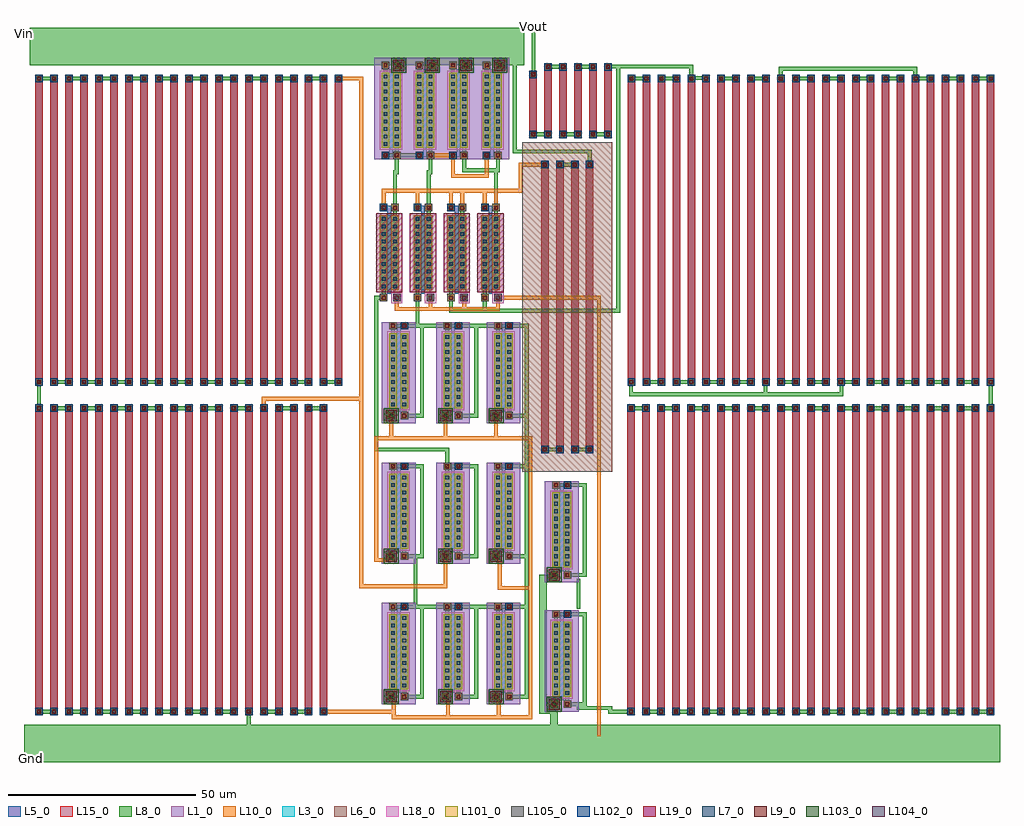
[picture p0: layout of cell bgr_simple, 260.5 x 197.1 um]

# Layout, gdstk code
from math import pi, radians
import gdstk
lib = gdstk.Library(unit=1e-6, precision=1e-09)
def R(c, l, rs):  # rectangles x0, y0, x1, y1
    for r in rs: c.add(gdstk.rectangle(r[:2], r[2:], *l))
def A(c, l, x, y, w, h, nx, ny, dx, dy):  # array of equal rectangles
    R(c, l, [(x+i*dx, y+j*dy, x+i*dx+w, y+j*dy+h) for i in range(nx) for j in range(ny)])
L1_0 = (1, 0)
L3_0 = (3, 0)
L5_0 = (5, 0)
L6_0 = (6, 0)
L7_0 = (7, 0)
L8_0 = (8, 0)
L9_0 = (9, 0)
L10_0 = (10, 0)
L15_0 = (15, 0)
L18_0 = (18, 0)
L19_0 = (19, 0)
L101_0 = (101, 0)
L102_0 = (102, 0)
L103_0 = (103, 0)
L104_0 = (104, 0)
L105_0 = (105, 0)

dcont_1 = lib.new_cell('dcont$1')
R(dcont_1, L3_0, [(-0.5,-0.5,0.5,0.5)])
R(dcont_1, L7_0, [(-0.5,-0.5,0.5,0.5)])
R(dcont_1, L8_0, [(-1,-1,1,1)])
R(dcont_1, L101_0, [(-1,-1,1,1)])
dcont_1.add(gdstk.Label('dcont', (0,0), layer=13, texttype=0))

pcont_4 = lib.new_cell('pcont$4')
R(pcont_4, L5_0, [(-1,-1,1,1)])
R(pcont_4, L7_0, [(-0.5,-0.5,0.5,0.5)])
R(pcont_4, L8_0, [(-1,-1,1,1)])
R(pcont_4, L102_0, [(-1,-1,1,1)])
pcont_4.add(gdstk.Label('pcont', (0,0), layer=13, texttype=0))

via_4 = lib.new_cell('Via$4')
R(via_4, L8_0, [(-1,-1,1,1)])
R(via_4, L9_0, [(-0.5,-0.5,0.5,0.5)])
R(via_4, L10_0, [(-1,-1,1,1)])
R(via_4, L105_0, [(-1,-1,1,1)])
via_4.add(gdstk.Label('via', (0,0), layer=13, texttype=0))

nsubcont_1 = lib.new_cell('nsubcont$1')
R(nsubcont_1, L1_0, [(-2,-2,2,2)])
R(nsubcont_1, L19_0, [(-1.5,-1.5,1.5,1.5)])
R(nsubcont_1, L103_0, [(-2,-2,2,2)])
nsubcont_1.add(gdstk.Reference(dcont_1, (0,0)))
nsubcont_1.add(gdstk.Label('NScont', (0,0), layer=13, texttype=0))

pch = lib.new_cell('Pch')
R(pch, L1_0, [(-2,0,7,27)])
R(pch, L3_0, [(0,3,5,23)])
R(pch, L18_0, [(-0.5,2.5,5.5,23.5)])
pch.add(gdstk.FlexPath([(1,3),(1,23)], 2, ends="flush", simple_path=True, layer=8, datatype=0))  # L8_0
pch.add(gdstk.FlexPath([(4,3),(4,23)], 2, ends="flush", simple_path=True, layer=8, datatype=0))  # L8_0
pch.add(gdstk.FlexPath([(1,23),(1,25)], 1, ends="flush", simple_path=True, layer=8, datatype=0))  # L8_0
pch.add(gdstk.FlexPath([(4,0),(4,3)], 1, ends="flush", simple_path=True, layer=8, datatype=0))  # L8_0
pch.add(gdstk.FlexPath([(2.5,3),(2.5,23)], 1, ends=(1, 1), simple_path=True, layer=5, datatype=0))  # L5_0
pch.add(gdstk.FlexPath([(1,1),(2.5,1),(2.5,2)], 1, ends="flush", simple_path=True, layer=5, datatype=0))  # L5_0
pch.add(gdstk.Reference(dcont_1, (1,4)))
pch.add(gdstk.Reference(dcont_1, (1,6)))
pch.add(gdstk.Reference(dcont_1, (1,8)))
pch.add(gdstk.Reference(dcont_1, (1,10)))
pch.add(gdstk.Reference(dcont_1, (1,12)))
pch.add(gdstk.Reference(dcont_1, (1,14)))
pch.add(gdstk.Reference(dcont_1, (1,16)))
pch.add(gdstk.Reference(dcont_1, (1,18)))
pch.add(gdstk.Reference(dcont_1, (1,20)))
pch.add(gdstk.Reference(dcont_1, (1,22)))
pch.add(gdstk.Reference(dcont_1, (4,4)))
pch.add(gdstk.Reference(dcont_1, (4,6)))
pch.add(gdstk.Reference(dcont_1, (4,8)))
pch.add(gdstk.Reference(dcont_1, (4,10)))
pch.add(gdstk.Reference(dcont_1, (4,12)))
pch.add(gdstk.Reference(dcont_1, (4,14)))
pch.add(gdstk.Reference(dcont_1, (4,16)))
pch.add(gdstk.Reference(dcont_1, (4,18)))
pch.add(gdstk.Reference(dcont_1, (4,20)))
pch.add(gdstk.Reference(dcont_1, (4,22)))
pch.add(gdstk.Reference(pcont_4, (1,1)))
pch.add(gdstk.Reference(via_4, (1,1)))
pch.add(gdstk.Reference(via_4, (1,25)))
pch.add(gdstk.Reference(via_4, (4,1)))
pch.add(gdstk.Reference(nsubcont_1, (4.5,25)))
pch.add(gdstk.Reference(via_4, (4.5,25)))

pch1x20 = lib.new_cell('pch1x20')
pch1x20.add(gdstk.Reference(pch, (1,2.5)))

psubcont_1 = lib.new_cell('psubcont$1')
R(psubcont_1, L104_0, [(-1,-1,1,1)])
psubcont_1.add(gdstk.Reference(dcont_1, (0,0)))
psubcont_1.add(gdstk.Label('PScon', (0,0), layer=13, texttype=0))

nch = lib.new_cell('Nch')
R(nch, L3_0, [(0,3,5,23)])
R(nch, L18_0, [(3,-0.5,6,2.5)])
R(nch, L19_0, [(-1,2.5,6,23.5)])
nch.add(gdstk.FlexPath([(1,3),(1,23)], 2, ends="flush", simple_path=True, layer=8, datatype=0))  # L8_0
nch.add(gdstk.FlexPath([(4,3),(4,23)], 2, ends="flush", simple_path=True, layer=8, datatype=0))  # L8_0
nch.add(gdstk.FlexPath([(1,1),(1,4)], 1, ends="flush", simple_path=True, layer=8, datatype=0))  # L8_0
nch.add(gdstk.FlexPath([(4,23),(4,26)], 1, ends="flush", simple_path=True, layer=8, datatype=0))  # L8_0
nch.add(gdstk.FlexPath([(2.5,3),(2.5,23)], 1, ends=(1, 1), simple_path=True, layer=5, datatype=0))  # L5_0
nch.add(gdstk.FlexPath([(1,25),(2.5,25),(2.5,24)], 1, ends="flush", simple_path=True, layer=5, datatype=0))  # L5_0
nch.add(gdstk.Reference(dcont_1, (1,4)))
nch.add(gdstk.Reference(dcont_1, (1,6)))
nch.add(gdstk.Reference(dcont_1, (1,8)))
nch.add(gdstk.Reference(dcont_1, (1,10)))
nch.add(gdstk.Reference(dcont_1, (1,12)))
nch.add(gdstk.Reference(dcont_1, (1,14)))
nch.add(gdstk.Reference(dcont_1, (1,16)))
nch.add(gdstk.Reference(dcont_1, (1,18)))
nch.add(gdstk.Reference(dcont_1, (1,20)))
nch.add(gdstk.Reference(dcont_1, (1,22)))
nch.add(gdstk.Reference(dcont_1, (4,4)))
nch.add(gdstk.Reference(dcont_1, (4,6)))
nch.add(gdstk.Reference(dcont_1, (4,8)))
nch.add(gdstk.Reference(dcont_1, (4,10)))
nch.add(gdstk.Reference(dcont_1, (4,12)))
nch.add(gdstk.Reference(dcont_1, (4,14)))
nch.add(gdstk.Reference(dcont_1, (4,16)))
nch.add(gdstk.Reference(dcont_1, (4,18)))
nch.add(gdstk.Reference(dcont_1, (4,20)))
nch.add(gdstk.Reference(dcont_1, (4,22)))
nch.add(gdstk.Reference(pcont_4, (1,25)))
nch.add(gdstk.Reference(via_4, (1,25)))
nch.add(gdstk.Reference(via_4, (1,1)))
nch.add(gdstk.Reference(via_4, (4,25)))
nch.add(gdstk.Reference(psubcont_1, (4.5,1)))
nch.add(gdstk.Reference(via_4, (4.5,1)))

nch1x20 = lib.new_cell('nch1x20')
nch1x20.add(gdstk.Reference(nch, (0.5,-0.5)))

pchdiode = lib.new_cell('pchdiode')
pchdiode.add(gdstk.FlexPath([(3.4,28.5),(-0.7,28.5),(-0.7,4.5),(6.9,4.5)], 1, ends="extended", simple_path=True, layer=8, datatype=0))  # L8_0
pchdiode.add(gdstk.Reference(pch1x20, (2,1)))

diodeblock = lib.new_cell('diodeblock')
diodeblock.add(gdstk.FlexPath([(32.5,8.5),(-3.2,8.5),(-3.2,-66.5),(26.5,-66.5)], 1, ends="flush", simple_path=True, layer=8, datatype=0))  # L8_0
diodeblock.add(gdstk.FlexPath([(26.5,8.5),(26.5,-5.5)], 1, ends="flush", simple_path=True, layer=8, datatype=0))  # L8_0
diodeblock.add(gdstk.FlexPath([(33,-36.5),(37,-36.5),(37,-4),(32,-4)], 1, ends="flush", simple_path=True, layer=10, datatype=0))  # L10_0
diodeblock.add(gdstk.FlexPath([(4,3.5),(4,-4)], 1, ends="flush", simple_path=True, layer=10, datatype=0))  # L10_0
diodeblock.add(gdstk.FlexPath([(4.3,33.3),(4.3,38),(17.8,38),(17.8,33.5)], 1, ends="flush", simple_path=True, layer=10, datatype=0))  # L10_0
diodeblock.add(gdstk.FlexPath([(18.3,38),(32.3,38),(32.3,33.4)], 1, ends="flush", simple_path=True, layer=10, datatype=0))  # L10_0
diodeblock.add(gdstk.FlexPath([(32.8,38),(-4.2,38),(-4.2,3.5),(4.5,3.5)], 1, ends="flush", simple_path=True, layer=10, datatype=0))  # L10_0
diodeblock.add(gdstk.FlexPath([(-4.2,4),(-4.2,-36.5),(5,-36.5)], 1, ends="flush", simple_path=True, layer=10, datatype=0))  # L10_0
diodeblock.add(gdstk.FlexPath([(5,-42.5),(5,-36.5),(18.5,-36.5),(18.5,-42.5)], 1, ends="flush", simple_path=True, layer=10, datatype=0))  # L10_0
diodeblock.add(gdstk.FlexPath([(18.5,-36.5),(33,-36.5),(33,-42.5)], 1, ends="flush", simple_path=True, layer=10, datatype=0))  # L10_0
diodeblock.add(gdstk.Reference(pchdiode, (-2.5,4)))
diodeblock.add(gdstk.Reference(pchdiode, (11,4)))
diodeblock.add(gdstk.Reference(pchdiode, (25.5,4)))
diodeblock.add(gdstk.Reference(pchdiode, (-2.5,-33.5)))
diodeblock.add(gdstk.Reference(pchdiode, (11,-33.5)))
diodeblock.add(gdstk.Reference(pchdiode, (25.5,-33.5)))
diodeblock.add(gdstk.Reference(pchdiode, (-2.5,-71)))
diodeblock.add(gdstk.Reference(pchdiode, (11,-71)))
diodeblock.add(gdstk.Reference(pchdiode, (25.5,-71)))

r_poly_5 = lib.new_cell('R_poly$5')
A(r_poly_5, L8_0, 0, 0, 2, 2, 5, 2, 4, 81)
A(r_poly_5, L10_0, 0, 0, 2, 2, 5, 2, 4, 81)
r_poly_5.add(gdstk.FlexPath([(5,82),(1,82)], 1, ends="extended", simple_path=True, layer=8, datatype=0))  # L8_0
r_poly_5.add(gdstk.FlexPath([(9,1),(5,1)], 1, ends="extended", simple_path=True, layer=8, datatype=0))  # L8_0
r_poly_5.add(gdstk.FlexPath([(13,82),(9,82)], 1, ends="extended", simple_path=True, layer=8, datatype=0))  # L8_0
r_poly_5.add(gdstk.FlexPath([(17,1),(13,1)], 1, ends="extended", simple_path=True, layer=8, datatype=0))  # L8_0
r_poly_5.add(gdstk.FlexPath([(1,2),(1,81)], 2, ends=(2, 2), simple_path=True, layer=5, datatype=0))  # L5_0
r_poly_5.add(gdstk.FlexPath([(5,2),(5,81)], 2, ends=(2, 2), simple_path=True, layer=5, datatype=0))  # L5_0
r_poly_5.add(gdstk.FlexPath([(9,2),(9,81)], 2, ends=(2, 2), simple_path=True, layer=5, datatype=0))  # L5_0
r_poly_5.add(gdstk.FlexPath([(13,2),(13,81)], 2, ends=(2, 2), simple_path=True, layer=5, datatype=0))  # L5_0
r_poly_5.add(gdstk.FlexPath([(17,2),(17,81)], 2, ends=(2, 2), simple_path=True, layer=5, datatype=0))  # L5_0
r_poly_5.add(gdstk.FlexPath([(1,2),(1,81)], 2, ends=(0.5, 0.5), simple_path=True, layer=15, datatype=0))  # L15_0
r_poly_5.add(gdstk.FlexPath([(5,2),(5,81)], 2, ends=(0.5, 0.5), simple_path=True, layer=15, datatype=0))  # L15_0
r_poly_5.add(gdstk.FlexPath([(9,2),(9,81)], 2, ends=(0.5, 0.5), simple_path=True, layer=15, datatype=0))  # L15_0
r_poly_5.add(gdstk.FlexPath([(13,2),(13,81)], 2, ends=(0.5, 0.5), simple_path=True, layer=15, datatype=0))  # L15_0
r_poly_5.add(gdstk.FlexPath([(17,2),(17,81)], 2, ends=(0.5, 0.5), simple_path=True, layer=15, datatype=0))  # L15_0
r_poly_5.add(gdstk.Reference(via_4, (1,1)))
r_poly_5.add(gdstk.Reference(pcont_4, (1,1)))
r_poly_5.add(gdstk.Reference(via_4, (1,82)))
r_poly_5.add(gdstk.Reference(pcont_4, (1,82)))
r_poly_5.add(gdstk.Reference(via_4, (5,1)))
r_poly_5.add(gdstk.Reference(pcont_4, (5,1)))
r_poly_5.add(gdstk.Reference(via_4, (5,82)))
r_poly_5.add(gdstk.Reference(pcont_4, (5,82)))
r_poly_5.add(gdstk.Reference(via_4, (9,1)))
r_poly_5.add(gdstk.Reference(pcont_4, (9,1)))
r_poly_5.add(gdstk.Reference(via_4, (9,82)))
r_poly_5.add(gdstk.Reference(pcont_4, (9,82)))
r_poly_5.add(gdstk.Reference(via_4, (13,1)))
r_poly_5.add(gdstk.Reference(pcont_4, (13,1)))
r_poly_5.add(gdstk.Reference(via_4, (13,82)))
r_poly_5.add(gdstk.Reference(pcont_4, (13,82)))
r_poly_5.add(gdstk.Reference(via_4, (17,1)))
r_poly_5.add(gdstk.Reference(pcont_4, (17,1)))
r_poly_5.add(gdstk.Reference(via_4, (17,82)))
r_poly_5.add(gdstk.Reference(pcont_4, (17,82)))

r_poly = lib.new_cell('R_poly')
R(r_poly, L8_0, [(0,0,2,2), (0,81,2,83)])
R(r_poly, L10_0, [(0,0,2,2), (0,81,2,83)])
r_poly.add(gdstk.FlexPath([(1,2),(1,81)], 2, ends=(2, 2), simple_path=True, layer=5, datatype=0))  # L5_0
r_poly.add(gdstk.FlexPath([(1,2),(1,81)], 2, ends=(0.5, 0.5), simple_path=True, layer=15, datatype=0))  # L15_0
r_poly.add(gdstk.Reference(via_4, (1,1)))
r_poly.add(gdstk.Reference(pcont_4, (1,1)))
r_poly.add(gdstk.Reference(via_4, (1,82)))
r_poly.add(gdstk.Reference(pcont_4, (1,82)))

hr_poly = lib.new_cell('HR_poly')
R(hr_poly, L6_0, [(-5,-5,19,83)])
A(hr_poly, L8_0, 0, 0, 2, 2, 4, 2, 4, 76)
A(hr_poly, L10_0, 0, 0, 2, 2, 4, 2, 4, 76)
hr_poly.add(gdstk.FlexPath([(5,77),(1,77)], 1, ends="extended", simple_path=True, layer=8, datatype=0))  # L8_0
hr_poly.add(gdstk.FlexPath([(9,1),(5,1)], 1, ends="extended", simple_path=True, layer=8, datatype=0))  # L8_0
hr_poly.add(gdstk.FlexPath([(13,77),(9,77)], 1, ends="extended", simple_path=True, layer=8, datatype=0))  # L8_0
hr_poly.add(gdstk.FlexPath([(1,2),(1,76)], 2, ends=(2, 2), simple_path=True, layer=5, datatype=0))  # L5_0
hr_poly.add(gdstk.FlexPath([(5,2),(5,76)], 2, ends=(2, 2), simple_path=True, layer=5, datatype=0))  # L5_0
hr_poly.add(gdstk.FlexPath([(9,2),(9,76)], 2, ends=(2, 2), simple_path=True, layer=5, datatype=0))  # L5_0
hr_poly.add(gdstk.FlexPath([(13,2),(13,76)], 2, ends=(2, 2), simple_path=True, layer=5, datatype=0))  # L5_0
hr_poly.add(gdstk.FlexPath([(1,2),(1,76)], 2, ends=(0.5, 0.5), simple_path=True, layer=15, datatype=0))  # L15_0
hr_poly.add(gdstk.FlexPath([(5,2),(5,76)], 2, ends=(0.5, 0.5), simple_path=True, layer=15, datatype=0))  # L15_0
hr_poly.add(gdstk.FlexPath([(9,2),(9,76)], 2, ends=(0.5, 0.5), simple_path=True, layer=15, datatype=0))  # L15_0
hr_poly.add(gdstk.FlexPath([(13,2),(13,76)], 2, ends=(0.5, 0.5), simple_path=True, layer=15, datatype=0))  # L15_0
hr_poly.add(gdstk.Reference(via_4, (1,1)))
hr_poly.add(gdstk.Reference(pcont_4, (1,1)))
hr_poly.add(gdstk.Reference(via_4, (1,77)))
hr_poly.add(gdstk.Reference(pcont_4, (1,77)))
hr_poly.add(gdstk.Reference(via_4, (5,1)))
hr_poly.add(gdstk.Reference(pcont_4, (5,1)))
hr_poly.add(gdstk.Reference(via_4, (5,77)))
hr_poly.add(gdstk.Reference(pcont_4, (5,77)))
hr_poly.add(gdstk.Reference(via_4, (9,1)))
hr_poly.add(gdstk.Reference(pcont_4, (9,1)))
hr_poly.add(gdstk.Reference(via_4, (9,77)))
hr_poly.add(gdstk.Reference(pcont_4, (9,77)))
hr_poly.add(gdstk.Reference(via_4, (13,1)))
hr_poly.add(gdstk.Reference(pcont_4, (13,1)))
hr_poly.add(gdstk.Reference(via_4, (13,77)))
hr_poly.add(gdstk.Reference(pcont_4, (13,77)))

r_poly_1 = lib.new_cell('R_poly$1')
A(r_poly_1, L8_0, 0, 0, 2, 2, 5, 1, 4, 0)
A(r_poly_1, L8_0, 0, 18, 2, 2, 6, 1, 4, 0)
R(r_poly_1, L8_0, [(20,2,22,4)])
A(r_poly_1, L10_0, 0, 0, 2, 2, 5, 1, 4, 0)
A(r_poly_1, L10_0, 0, 18, 2, 2, 6, 1, 4, 0)
R(r_poly_1, L10_0, [(20,2,22,4)])
r_poly_1.add(gdstk.FlexPath([(5,19),(1,19)], 1, ends="extended", simple_path=True, layer=8, datatype=0))  # L8_0
r_poly_1.add(gdstk.FlexPath([(9,1),(5,1)], 1, ends="extended", simple_path=True, layer=8, datatype=0))  # L8_0
r_poly_1.add(gdstk.FlexPath([(13,19),(9,19)], 1, ends="extended", simple_path=True, layer=8, datatype=0))  # L8_0
r_poly_1.add(gdstk.FlexPath([(17,1),(13,1)], 1, ends="extended", simple_path=True, layer=8, datatype=0))  # L8_0
r_poly_1.add(gdstk.FlexPath([(21,19),(17,19)], 1, ends="extended", simple_path=True, layer=8, datatype=0))  # L8_0
r_poly_1.add(gdstk.FlexPath([(1,2),(1,18)], 2, ends=(2, 2), simple_path=True, layer=5, datatype=0))  # L5_0
r_poly_1.add(gdstk.FlexPath([(5,2),(5,18)], 2, ends=(2, 2), simple_path=True, layer=5, datatype=0))  # L5_0
r_poly_1.add(gdstk.FlexPath([(9,2),(9,18)], 2, ends=(2, 2), simple_path=True, layer=5, datatype=0))  # L5_0
r_poly_1.add(gdstk.FlexPath([(13,2),(13,18)], 2, ends=(2, 2), simple_path=True, layer=5, datatype=0))  # L5_0
r_poly_1.add(gdstk.FlexPath([(17,2),(17,18)], 2, ends=(2, 2), simple_path=True, layer=5, datatype=0))  # L5_0
r_poly_1.add(gdstk.FlexPath([(21,4),(21,18)], 2, ends=(2, 2), simple_path=True, layer=5, datatype=0))  # L5_0
r_poly_1.add(gdstk.FlexPath([(1,2),(1,18)], 2, ends=(0.5, 0.5), simple_path=True, layer=15, datatype=0))  # L15_0
r_poly_1.add(gdstk.FlexPath([(5,2),(5,18)], 2, ends=(0.5, 0.5), simple_path=True, layer=15, datatype=0))  # L15_0
r_poly_1.add(gdstk.FlexPath([(9,2),(9,18)], 2, ends=(0.5, 0.5), simple_path=True, layer=15, datatype=0))  # L15_0
r_poly_1.add(gdstk.FlexPath([(13,2),(13,18)], 2, ends=(0.5, 0.5), simple_path=True, layer=15, datatype=0))  # L15_0
r_poly_1.add(gdstk.FlexPath([(17,2),(17,18)], 2, ends=(0.5, 0.5), simple_path=True, layer=15, datatype=0))  # L15_0
r_poly_1.add(gdstk.FlexPath([(21,4),(21,18)], 2, ends=(0.5, 0.5), simple_path=True, layer=15, datatype=0))  # L15_0
r_poly_1.add(gdstk.Reference(via_4, (1,1)))
r_poly_1.add(gdstk.Reference(pcont_4, (1,1)))
r_poly_1.add(gdstk.Reference(via_4, (1,19)))
r_poly_1.add(gdstk.Reference(pcont_4, (1,19)))
r_poly_1.add(gdstk.Reference(via_4, (5,1)))
r_poly_1.add(gdstk.Reference(pcont_4, (5,1)))
r_poly_1.add(gdstk.Reference(via_4, (5,19)))
r_poly_1.add(gdstk.Reference(pcont_4, (5,19)))
r_poly_1.add(gdstk.Reference(via_4, (9,1)))
r_poly_1.add(gdstk.Reference(pcont_4, (9,1)))
r_poly_1.add(gdstk.Reference(via_4, (9,19)))
r_poly_1.add(gdstk.Reference(pcont_4, (9,19)))
r_poly_1.add(gdstk.Reference(via_4, (13,1)))
r_poly_1.add(gdstk.Reference(pcont_4, (13,1)))
r_poly_1.add(gdstk.Reference(via_4, (13,19)))
r_poly_1.add(gdstk.Reference(pcont_4, (13,19)))
r_poly_1.add(gdstk.Reference(via_4, (17,1)))
r_poly_1.add(gdstk.Reference(pcont_4, (17,1)))
r_poly_1.add(gdstk.Reference(via_4, (17,19)))
r_poly_1.add(gdstk.Reference(pcont_4, (17,19)))
r_poly_1.add(gdstk.Reference(via_4, (21,3)))
r_poly_1.add(gdstk.Reference(pcont_4, (21,3)))
r_poly_1.add(gdstk.Reference(via_4, (21,19)))
r_poly_1.add(gdstk.Reference(pcont_4, (21,19)))

bgr_simple = lib.new_cell('bgr_simple')
bgr_simple.add(gdstk.FlexPath([(-91.5,-196.5),(169,-196.5)], 10, ends="flush", simple_path=True, layer=8, datatype=0))  # L8_0
bgr_simple.add(gdstk.FlexPath([(-90,-10.5),(42,-10.5)], 10, ends="flush", simple_path=True, layer=8, datatype=0))  # L8_0
bgr_simple.add(gdstk.FlexPath([(13.5,-77.5),(13.5,-85)], 1, ends="flush", simple_path=True, layer=8, datatype=0))  # L8_0
bgr_simple.add(gdstk.FlexPath([(4.5,-77.5),(2.5,-77.5),(2.5,-118),(21.5,-118),(21.5,-122.5),(21.5,-123)], 1, ends="flush", simple_path=True, layer=8, datatype=0))  # L8_0
bgr_simple.add(gdstk.FlexPath([(16.5,-53.5),(16.5,-44),(17,-44),(17,-39.5)], 1, ends="flush", simple_path=True, layer=8, datatype=0))  # L8_0
bgr_simple.add(gdstk.FlexPath([(7.5,-53.5),(7.5,-44),(8,-44),(8,-39.5),(8,-39.5)], 1, ends="flush", simple_path=True, layer=8, datatype=0))  # L8_0
bgr_simple.add(gdstk.FlexPath([(34.5,-53.5),(34.5,-43.5)], 1, ends="flush", simple_path=True, layer=8, datatype=0))  # L8_0
bgr_simple.add(gdstk.FlexPath([(22.5,-77.3),(22.5,-81),(31.5,-81),(31.5,-77.6)], 1, ends="flush", simple_path=True, layer=8, datatype=0))  # L8_0
bgr_simple.add(gdstk.FlexPath([(50.7,-152.5),(47,-152.5),(47,-187.5),(50,-187.5),(50,-192.5)], 2, ends="flush", simple_path=True, layer=8, datatype=0))  # L8_0
bgr_simple.add(gdstk.FlexPath([(26,-39.5),(26,-43.5),(35,-43.5),(35,-39.5)], 1, ends="flush", simple_path=True, layer=8, datatype=0))  # L8_0
bgr_simple.add(gdstk.FlexPath([(5,-39.5),(14,-39.5),(14,-39.5)], 1, ends="flush", simple_path=True, layer=8, datatype=0))  # L8_0
bgr_simple.add(gdstk.FlexPath([(31.5,-81),(67.1,-81),(67.1,-15.5)], 1, ends="flush", simple_path=True, layer=8, datatype=0))  # L8_0
bgr_simple.add(gdstk.FlexPath([(86.6,-19.1),(86.6,-15.8),(64.4,-15.8),(64.4,-15.9)], 1, ends="flush", simple_path=True, layer=8, datatype=0))  # L8_0
bgr_simple.add(gdstk.FlexPath([(44.5,-17.8),(44.5,-4.4)], 1, ends="flush", simple_path=True, layer=8, datatype=0))  # L8_0
bgr_simple.add(gdstk.FlexPath([(151,-19),(146,-19)], 1, ends="flush", simple_path=True, layer=8, datatype=0))  # L8_0
bgr_simple.add(gdstk.FlexPath([(130.5,-100),(126.5,-100)], 1, ends="flush", simple_path=True, layer=8, datatype=0))  # L8_0
bgr_simple.add(gdstk.FlexPath([(90.6,-18.9),(86.6,-18.9)], 1, ends="flush", simple_path=True, layer=8, datatype=0))  # L8_0
bgr_simple.add(gdstk.FlexPath([(70.5,-100.1),(70.5,-103.3),(106.4,-103.3),(106.4,-100)], 1, ends="flush", simple_path=True, layer=8, datatype=0))  # L8_0
bgr_simple.add(gdstk.FlexPath([(110.5,-18.8),(110.5,-16.4),(146.4,-16.4),(146.4,-19)], 1, ends="flush", simple_path=True, layer=8, datatype=0))  # L8_0
bgr_simple.add(gdstk.FlexPath([(106.2,-103.3),(126.7,-103.3),(126.7,-99.5)], 1, ends="flush", simple_path=True, layer=8, datatype=0))  # L8_0
bgr_simple.add(gdstk.FlexPath([(-71.5,-19),(-67.5,-19)], 1, ends="flush", simple_path=True, layer=8, datatype=0))  # L8_0
bgr_simple.add(gdstk.FlexPath([(59.5,-42),(59.5,-38.5),(39.5,-38.5),(39.5,-11),(39.5,-11)], 1, ends="flush", simple_path=True, layer=8, datatype=0))  # L8_0
bgr_simple.add(gdstk.FlexPath([(56,-187),(65,-187),(65,-188),(70.5,-188)], 1, ends="flush", simple_path=True, layer=8, datatype=0))  # L8_0
bgr_simple.add(gdstk.FlexPath([(86.5,-107),(91,-107)], 1, ends="flush", simple_path=True, layer=8, datatype=0))  # L8_0
bgr_simple.add(gdstk.FlexPath([(106.5,-188),(110.5,-188)], 1, ends="flush", simple_path=True, layer=8, datatype=0))  # L8_0
bgr_simple.add(gdstk.FlexPath([(126.5,-107),(130.5,-107)], 1, ends="flush", simple_path=True, layer=8, datatype=0))  # L8_0
bgr_simple.add(gdstk.FlexPath([(146.5,-188),(150.5,-188)], 1, ends="flush", simple_path=True, layer=8, datatype=0))  # L8_0
bgr_simple.add(gdstk.FlexPath([(166.5,-100),(166.5,-107)], 1, ends="flush", simple_path=True, layer=8, datatype=0))  # L8_0
bgr_simple.add(gdstk.FlexPath([(-91.5,-196.5),(169,-196.5)], 10, ends="flush", simple_path=True, layer=8, datatype=0))  # L8_0
bgr_simple.add(gdstk.FlexPath([(56.5,-152.5),(56.5,-160.5),(56.5,-160.5)], 1, ends="flush", simple_path=True, layer=8, datatype=0))  # L8_0
bgr_simple.add(gdstk.FlexPath([(-7.5,-100),(-11.5,-100),(-11.5,-100)], 1, ends="flush", simple_path=True, layer=8, datatype=0))  # L8_0
bgr_simple.add(gdstk.FlexPath([(-27.5,-19),(-31.5,-19),(-31.5,-19)], 1, ends="flush", simple_path=True, layer=8, datatype=0))  # L8_0
bgr_simple.add(gdstk.FlexPath([(-47.5,-100),(-51.5,-100)], 1, ends="flush", simple_path=True, layer=8, datatype=0))  # L8_0
bgr_simple.add(gdstk.FlexPath([(-87.5,-100),(-87.5,-107)], 1, ends="flush", simple_path=True, layer=8, datatype=0))  # L8_0
bgr_simple.add(gdstk.FlexPath([(-71.5,-188),(-67,-188)], 1, ends="flush", simple_path=True, layer=8, datatype=0))  # L8_0
bgr_simple.add(gdstk.FlexPath([(-51.5,-107),(-47,-107)], 1, ends="flush", simple_path=True, layer=8, datatype=0))  # L8_0
bgr_simple.add(gdstk.FlexPath([(-31.5,-188),(-31.5,-193)], 1, ends="flush", simple_path=True, layer=8, datatype=0))  # L8_0
bgr_simple.add(gdstk.FlexPath([(17,-39.5),(23,-39.5)], 1, ends="flush", simple_path=True, layer=10, datatype=0))  # L10_0
bgr_simple.add(gdstk.FlexPath([(13.5,-49),(22.5,-49),(22.5,-53.5)], 1, ends="flush", simple_path=True, layer=10, datatype=0))  # L10_0
bgr_simple.add(gdstk.FlexPath([(22.5,-49),(25.5,-49),(25.5,-53.5)], 1, ends="flush", simple_path=True, layer=10, datatype=0))  # L10_0
bgr_simple.add(gdstk.FlexPath([(25.5,-49),(31.5,-49),(31.5,-53.5)], 1, ends="flush", simple_path=True, layer=10, datatype=0))  # L10_0
bgr_simple.add(gdstk.FlexPath([(31.5,-49),(34.5,-49),(34.5,-53.5),(34.5,-53.5)], 1, ends="flush", simple_path=True, layer=10, datatype=0))  # L10_0
bgr_simple.add(gdstk.FlexPath([(17,-80.5),(26,-80.5),(26,-78)], 1, ends="flush", simple_path=True, layer=10, datatype=0))  # L10_0
bgr_simple.add(gdstk.FlexPath([(-11.5,-188),(7.2,-188)], 1, ends="flush", simple_path=True, layer=10, datatype=0))  # L10_0
bgr_simple.add(gdstk.FlexPath([(32,-39.5),(32,-45),(23,-45),(23,-39.5)], 1, ends="flush", simple_path=True, layer=10, datatype=0))  # L10_0
bgr_simple.add(gdstk.FlexPath([(4.5,-53.5),(4.5,-49),(13.5,-49),(13.5,-53.5)], 1, ends="flush", simple_path=True, layer=10, datatype=0))  # L10_0
bgr_simple.add(gdstk.FlexPath([(26,-80.5),(35,-80.5),(35,-78)], 1, ends="flush", simple_path=True, layer=10, datatype=0))  # L10_0
bgr_simple.add(gdstk.FlexPath([(8,-77.8),(8,-80.5),(17,-80.5),(17,-78)], 1, ends="flush", simple_path=True, layer=10, datatype=0))  # L10_0
bgr_simple.add(gdstk.FlexPath([(34.5,-49),(41,-49),(41,-42),(47.6,-42)], 1, ends="flush", simple_path=True, layer=10, datatype=0))  # L10_0
bgr_simple.add(gdstk.FlexPath([(35,-77.5),(62,-77.5),(62,-194.5)], 1, ends="flush", simple_path=True, layer=10, datatype=0))  # L10_0
bgr_simple.add(gdstk.FlexPath([(21,-147.5),(21,-154.5),(-1.5,-154.5),(-1.5,-19),(-8,-19)], 1, ends="flush", simple_path=True, layer=10, datatype=0))  # L10_0
bgr_simple.add(gdstk.FlexPath([(-27.5,-106.5),(-27.5,-104.5),(-1.5,-104.5),(-1.5,-104.5)], 1, ends="flush", simple_path=True, layer=10, datatype=0))  # L10_0
bgr_simple.add(gdstk.Reference(pch1x20, (12,-43)))
bgr_simple.add(gdstk.Reference(pch1x20, (21,-43)))
bgr_simple.add(gdstk.Reference(pch1x20, (30,-43)))
bgr_simple.add(gdstk.Reference(pch1x20, (3,-43)))
bgr_simple.add(gdstk.Reference(nch1x20, (3,-78)))
bgr_simple.add(gdstk.Reference(nch1x20, (12,-78)))
bgr_simple.add(gdstk.Reference(nch1x20, (30,-78)))
bgr_simple.add(gdstk.Reference(diodeblock, (39.5,-151.5), rotation=pi))
bgr_simple.add(gdstk.Reference(r_poly_5, (107.5,-189), rotation=pi, x_reflection=True))
bgr_simple.add(gdstk.Reference(r_poly_5, (109.5,-189)))
bgr_simple.add(gdstk.Reference(r_poly_5, (147.5,-189), rotation=pi, x_reflection=True))
bgr_simple.add(gdstk.Reference(r_poly_5, (167.5,-101), rotation=pi, x_reflection=True))
bgr_simple.add(gdstk.Reference(r_poly, (-8.5,-101)))
bgr_simple.add(gdstk.Reference(r_poly_5, (69.5,-189)))
bgr_simple.add(gdstk.Reference(r_poly_5, (-68.5,-189)))
bgr_simple.add(gdstk.Reference(r_poly_5, (-30.5,-189), rotation=pi, x_reflection=True))
bgr_simple.add(gdstk.Reference(r_poly_5, (-10.5,-189), rotation=pi, x_reflection=True))
bgr_simple.add(gdstk.Reference(r_poly_5, (-30.5,-18), rotation=pi))
bgr_simple.add(gdstk.Reference(r_poly_5, (-68.5,-18), x_reflection=True))
bgr_simple.add(gdstk.Reference(r_poly_5, (-70.5,-18), rotation=pi))
bgr_simple.add(gdstk.Reference(pchdiode, (57.5,-157.5), rotation=pi))
bgr_simple.add(gdstk.Reference(pchdiode, (57.5,-123), rotation=pi))
bgr_simple.add(gdstk.Reference(r_poly_5, (149.5,-189)))
bgr_simple.add(gdstk.Reference(hr_poly, (60.5,-41), rotation=pi))
bgr_simple.add(gdstk.Reference(r_poly_5, (-70.5,-189), rotation=pi, x_reflection=True))
bgr_simple.add(gdstk.Reference(r_poly_5, (-28.5,-18), x_reflection=True))
bgr_simple.add(gdstk.Reference(nch1x20, (21,-78)))
bgr_simple.add(gdstk.Reference(r_poly_1, (65.4,-14.9), rotation=pi))
bgr_simple.add(gdstk.Reference(r_poly_5, (127.5,-101), rotation=pi, x_reflection=True))
bgr_simple.add(gdstk.Reference(r_poly_5, (129.5,-101)))
bgr_simple.add(gdstk.Reference(r_poly_5, (107.5,-101), rotation=pi, x_reflection=True))
bgr_simple.add(gdstk.Reference(r_poly_5, (69.6,-101)))
bgr_simple.add(gdstk.Label('Vin', (-91.3,-7), layer=8, texttype=0))
bgr_simple.add(gdstk.Label('Gnd', (-89.5,-200.5), layer=8, texttype=0))
bgr_simple.add(gdstk.Label('Vout', (44.6,-5.1), layer=7, texttype=0))

lib.write_gds('bgr_simple.gds')
